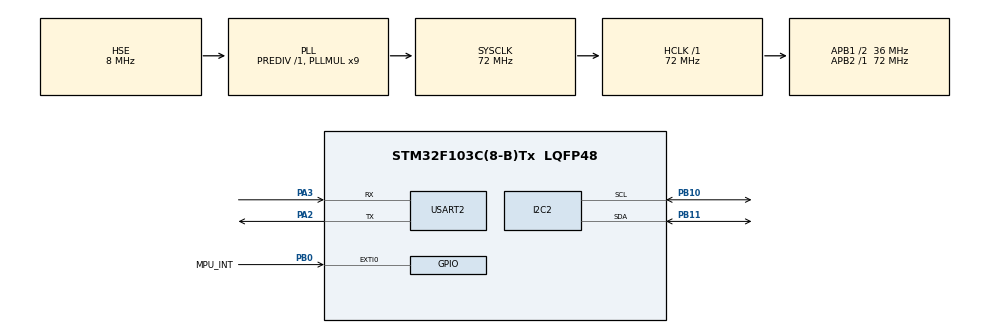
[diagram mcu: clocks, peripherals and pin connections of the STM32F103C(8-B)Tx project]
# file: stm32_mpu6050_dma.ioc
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Dma.I2C2_RX.0.Direction=DMA_PERIPH_TO_MEMORY
Dma.I2C2_RX.0.Instance=DMA1_Channel5
Dma.I2C2_RX.0.MemDataAlignment=DMA_MDATAALIGN_BYTE
Dma.I2C2_RX.0.MemInc=DMA_MINC_ENABLE
Dma.I2C2_RX.0.Mode=DMA_NORMAL
Dma.I2C2_RX.0.PeriphDataAlignment=DMA_PDATAALIGN_BYTE
Dma.I2C2_RX.0.PeriphInc=DMA_PINC_DISABLE
Dma.I2C2_RX.0.Priority=DMA_PRIORITY_LOW
Dma.Request0=I2C2_RX
I2C2.I2C_Mode=I2C_Fast
Mcu.Family=STM32F1
Mcu.Name=STM32F103C(8-B)Tx
Mcu.Package=LQFP48
NVIC.DMA1_Channel5_IRQn=true\:0\:0\:false\:false\:true\:false\:true\:true
NVIC.EXTI0_IRQn=true\:0\:0\:false\:false\:true\:true\:true\:true
NVIC.PriorityGroup=NVIC_PRIORITYGROUP_4
PA13.Mode=Serial_Wire
PA13.Signal=SYS_JTMS-SWDIO
PA14.Mode=Serial_Wire
PA14.Signal=SYS_JTCK-SWCLK
PA2.Mode=Asynchronous
PA2.Signal=USART2_TX
PA3.Mode=Asynchronous
PA3.Signal=USART2_RX
PB0.GPIO_Label=MPU_INT
PB0.GPIO_ModeDefaultEXTI=GPIO_MODE_IT_RISING
PB0.GPIO_PuPd=GPIO_PULLDOWN
PB0.Signal=GPXTI0
PB10.Mode=I2C
PB10.Signal=I2C2_SCL
PB11.Mode=I2C
PB11.Signal=I2C2_SDA
PD0-OSC_IN.Mode=HSE-External-Oscillator
PD0-OSC_IN.Signal=RCC_OSC_IN
PD1-OSC_OUT.Mode=HSE-External-Oscillator
PD1-OSC_OUT.Signal=RCC_OSC_OUT
ProjectManager.HeapSize=0x200
ProjectManager.StackSize=0x400
ProjectManager.TargetToolchain=Makefile
RCC.AHBFreq_Value=72000000
RCC.APB1CLKDivider=RCC_HCLK_DIV2
RCC.APB1Freq_Value=36000000
RCC.APB1TimFreq_Value=72000000
RCC.APB2Freq_Value=72000000
RCC.APB2TimFreq_Value=72000000
RCC.HCLKFreq_Value=72000000
RCC.PLLMUL=RCC_PLL_MUL9
RCC.PLLSourceVirtual=RCC_PLLSOURCE_HSE
RCC.SYSCLKFreq_VALUE=72000000
RCC.SYSCLKSource=RCC_SYSCLKSOURCE_PLLCLK
RCC.USBFreq_Value=72000000
USART2.VirtualMode=VM_ASYNC
board=custom

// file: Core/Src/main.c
/* USER CODE BEGIN Header */
/**
  ******************************************************************************
  * @file           : main.c
  * @brief          : Main program body
  ******************************************************************************
  * @attention
  *
  * Copyright (c) 2022 STMicroelectronics.
  * All rights reserved.
  *
  * This software is licensed under terms that can be found in the LICENSE file
  * in the root directory of this software component.
  * If no LICENSE file comes with this software, it is provided AS-IS.
  *
  ******************************************************************************
  */
/* USER CODE END Header */
#include "main.h"
#include "dma.h"
#include "i2c.h"
#include "usart.h"
#include "gpio.h"

/* USER CODE BEGIN Includes */
#include "mpu6050.h"
#include <stdio.h>
/* USER CODE END Includes */

void SystemClock_Config(void);

/* USER CODE BEGIN 0 */

float pitch, roll, yaw;
char uartData[100];
//extern float mpu[2][3];

//These values are the calibration values of my sensor. These values will be different for each sensor.
//You can calibrate with your previous calibration values for a hot start.
uint8_t gyroCalibValues[6] = {0, 23, 0, 63, 0, 27};

// As the sensor is set in init, the sensor takes a sample every 5ms (200hz),
// creates an interrupt, then puts the dma data in the buffer,
// then the data is scaled and the orientations are calculated.
// This process is repeated automatically every 5ms. So dt is 0.005 seconds
void HAL_I2C_MemRxCpltCallback(I2C_HandleTypeDef *hi2c)
{
  MPU6050_AllScale_DMA();

  // Madgwick Orientation Filter with 6 degrees of freedom
  MPU6050_Madgwick(&roll, &pitch, &yaw, 0.005f);

  // Complementary Filter with 6 degrees of freedom
  //MPU6050_GetRollPitch(&roll, &pitch, &yaw, 0.005f);
}

void HAL_GPIO_EXTI_Callback(uint16_t GPIO_Pin)
{
  MPU6050_Read_DMA();
}
/* USER CODE END 0 */

int main(void)
{

  /* MCU Configuration--------------------------------------------------------*/

  /* Reset of all peripherals, Initializes the Flash interface and the Systick. */
  HAL_Init();

  /* Configure the system clock */
  SystemClock_Config();

  /* Initialize all configured peripherals */
  MX_GPIO_Init();
  MX_DMA_Init();
  MX_USART2_UART_Init();
  MX_I2C2_Init();
  /* USER CODE BEGIN 2 */

  while(!MPU6050_Init(&hi2c2))
  {
    MPU6050_DeviceReset(0);
    HAL_Delay(100);
    MPU6050_DeviceReset(1);
  }

  //The sensor must not move during calibration.
  uint8_t* newCalibData = MPU6050_Calibrate_Gyro();
  uint8_t stringSize = sprintf(uartData, "\ngyroCalibValues[6] = %hi, %hi, %hi, %hi, %hi, %hi\n", *newCalibData, *(newCalibData+1), *(newCalibData+2), *(newCalibData+3), *(newCalibData+4), *(newCalibData+5));
  HAL_UART_Transmit(&huart2, (uint8_t*)uartData, stringSize, 100);

  //You can calibrate with your previous calibration values for a hot start.
  //MPU6050_Set_Calibrate_Gyro(gyroCalibValues);
  MPU6050_Start_IRQ();

  /* USER CODE END 2 */

  /* Infinite loop */
  while (1)
  {

    /* USER CODE BEGIN 3 */
    HAL_Delay(100);

    //uint8_t a = sprintf(uartData, "Ax:%f Ay:%f Az:%f Gx:%f Gy:%f Gz:%f\n", mpu[acc][X], mpu[acc][Y], mpu[acc][Z], mpu[gyro][X], mpu[gyro][Y], mpu[gyro][Z]);
    uint8_t stringSize = sprintf(uartData, "yaw: %f pitch: %f roll: %f\n", yaw, pitch, roll);

    HAL_UART_Transmit(&huart2, (uint8_t*)uartData, stringSize, 100);
  }
  /* USER CODE END 3 */
}

void SystemClock_Config(void)
{
  RCC_OscInitTypeDef RCC_OscInitStruct = {0};
  RCC_ClkInitTypeDef RCC_ClkInitStruct = {0};

  /** Initializes the RCC Oscillators according to the specified parameters
  * in the RCC_OscInitTypeDef structure.
  */
  RCC_OscInitStruct.OscillatorType = RCC_OSCILLATORTYPE_HSE;
  RCC_OscInitStruct.HSEState = RCC_HSE_ON;
  RCC_OscInitStruct.HSEPredivValue = RCC_HSE_PREDIV_DIV1;
  RCC_OscInitStruct.HSIState = RCC_HSI_ON;
  RCC_OscInitStruct.PLL.PLLState = RCC_PLL_ON;
  RCC_OscInitStruct.PLL.PLLSource = RCC_PLLSOURCE_HSE;
  RCC_OscInitStruct.PLL.PLLMUL = RCC_PLL_MUL9;
  if (HAL_RCC_OscConfig(&RCC_OscInitStruct) != HAL_OK)
  {
    Error_Handler();
  }

  /** Initializes the CPU, AHB and APB buses clocks
  */
  RCC_ClkInitStruct.ClockType = RCC_CLOCKTYPE_HCLK|RCC_CLOCKTYPE_SYSCLK
                              |RCC_CLOCKTYPE_PCLK1|RCC_CLOCKTYPE_PCLK2;
  RCC_ClkInitStruct.SYSCLKSource = RCC_SYSCLKSOURCE_PLLCLK;
  RCC_ClkInitStruct.AHBCLKDivider = RCC_SYSCLK_DIV1;
  RCC_ClkInitStruct.APB1CLKDivider = RCC_HCLK_DIV2;
  RCC_ClkInitStruct.APB2CLKDivider = RCC_HCLK_DIV1;

  if (HAL_RCC_ClockConfig(&RCC_ClkInitStruct, FLASH_LATENCY_2) != HAL_OK)
  {
    Error_Handler();
  }
}

void Error_Handler(void)
{
  __disable_irq();
  while (1)
  {
  }
}
